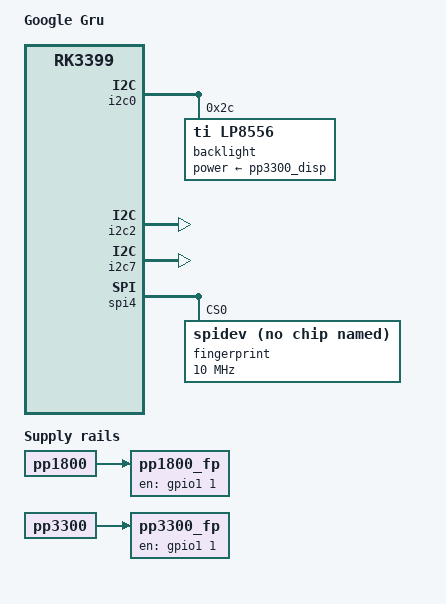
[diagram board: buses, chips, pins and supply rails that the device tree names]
/*
 * Google Gru-Gru Rev 0+ board device tree source
 *
 * Copyright 2016 Google, Inc
 *
 * This file is dual-licensed: you can use it either under the terms
 * of the GPL or the X11 license, at your option. Note that this dual
 * licensing only applies to this file, and not this project as a
 * whole.
 *
 *  a) This file is free software; you can redistribute it and/or
 *     modify it under the terms of the GNU General Public License as
 *     published by the Free Software Foundation; either version 2 of the
 *     License, or (at your option) any later version.
 *
 *     This file is distributed in the hope that it will be useful,
 *     but WITHOUT ANY WARRANTY; without even the implied warranty of
 *     MERCHANTABILITY or FITNESS FOR A PARTICULAR PURPOSE.  See the
 *     GNU General Public License for more details.
 *
 *  Or, alternatively,
 *
 *  b) Permission is hereby granted, free of charge, to any person
 *     obtaining a copy of this software and associated documentation
 *     files (the "Software"), to deal in the Software without
 *     restriction, including without limitation the rights to use,
 *     copy, modify, merge, publish, distribute, sublicense, and/or
 *     sell copies of the Software, and to permit persons to whom the
 *     Software is furnished to do so, subject to the following
 *     conditions:
 *
 *     The above copyright notice and this permission notice shall be
 *     included in all copies or substantial portions of the Software.
 *
 *     THE SOFTWARE IS PROVIDED "AS IS", WITHOUT WARRANTY OF ANY KIND,
 *     EXPRESS OR IMPLIED, INCLUDING BUT NOT LIMITED TO THE WARRANTIES
 *     OF MERCHANTABILITY, FITNESS FOR A PARTICULAR PURPOSE AND
 *     NONINFRINGEMENT. IN NO EVENT SHALL THE AUTHORS OR COPYRIGHT
 *     HOLDERS BE LIABLE FOR ANY CLAIM, DAMAGES OR OTHER LIABILITY,
 *     WHETHER IN AN ACTION OF CONTRACT, TORT OR OTHERWISE, ARISING
 *     FROM, OUT OF OR IN CONNECTION WITH THE SOFTWARE OR THE USE OR
 *     OTHER DEALINGS IN THE SOFTWARE.
 */

/dts-v1/;
#include "rk3399-gru.dtsi"

/ {
	model = "Google Gru";
	compatible = "google,gru-rev15", "google,gru-rev14",
		     "google,gru-rev13", "google,gru-rev12",
		     "google,gru-rev11", "google,gru-rev10",
		     "google,gru-rev9", "google,gru-rev8",
		     "google,gru-rev7", "google,gru-rev6",
		     "google,gru-rev5", "google,gru-rev4",
		     "google,gru-rev3", "google,gru-rev2",
		     "google,gru-rev1", "google,gru-rev0",
		     "google,gru", "rockchip,rk3399";

	// TODO: Model:
	// - pp1200_mipi_cam
	// - pp1800_mipi_cam
	// - pp2800_mipi_cam

	/* pp1800 children */

	pp1800_fp: pp1800-fp {
		compatible = "regulator-fixed";
		regulator-name = "pp1800_fp";
		pinctrl-names = "default";
		pinctrl-0 = <&fp_en>;

		enable-active-high;
		gpio = <&gpio1 1 GPIO_ACTIVE_HIGH>;

		regulator-always-on;		// For bringup???
		regulator-boot-on;		// For bringup???

		vin-supply = <&pp1800>;
	};

	/* pp3300 children */

	pp3300_fp: pp3300-fp {
		compatible = "regulator-fixed";
		regulator-name = "pp3300_fp";
		/* NOTE: fp_en pinctrl in pp1800_fp */

		enable-active-high;
		gpio = <&gpio1 1 GPIO_ACTIVE_HIGH>;

		regulator-always-on;		// For bringup???
		regulator-boot-on;		// For bringup???

		vin-supply = <&pp3300>;
	};
};

ap_i2c_dvs: &i2c0 {
	status = "okay";

	// TODO: bus speed
	//       ...with no speed, it should just use 100kHz
	// TODO: rise / fall times?

	/* LP8556 */
	backlight@2c {
		compatible = "ti,lp8556";
		reg = <0x2c>;

		// TODO: Where do we specify AP_BL_EN???

		bl-name = "lcd-bl";
		dev-ctrl = /bits/ 8 <0x85>;  // TODO: It depends on the device.
		init-brt = /bits/ 8 <0x10>;  // TODO: What should it be?

		power-supply = <&pp3300_disp>;
	};
};

ap_i2c_cam: &i2c2 {
	status = "okay";

	// TODO: bus speed
	//       ...with no speed, it should just use 100kHz
	// TODO: rise / fall times?

	// TODO: I belive this is for the MIPI camera.
};

ap_i2c_nfc: &i2c7 {
	status = "okay";

	// TODO: bus speed
	//       ...with no speed, it should just use 100kHz
	// TODO: rise / fall times?

	// TODO: Add the proper NFC reference...
};

&spi4 {
	status = "okay";

	// TODO: more properly.  Hacky spidev for now???
	fingerprint@0 {
		compatible = "spidev";
		spi-max-frequency = <10000000>;
		reg = <0>;
	};
};

/* PINCTRL: always below everything else */

&pinctrl {
	discrete-regulators {
		fp_en: fp-en {
			rockchip,pins = <RK_GPIO1 1 RK_FUNC_GPIO
					 &pcfg_pull_none>;
		};
	};
};

/* DON'T PUT ANYTHING BELOW HERE.  PUT IT ABOVE PINCTRL */
/* DON'T PUT ANYTHING BELOW HERE.  PUT IT ABOVE PINCTRL */
/* DON'T PUT ANYTHING BELOW HERE.  PUT IT ABOVE PINCTRL */
